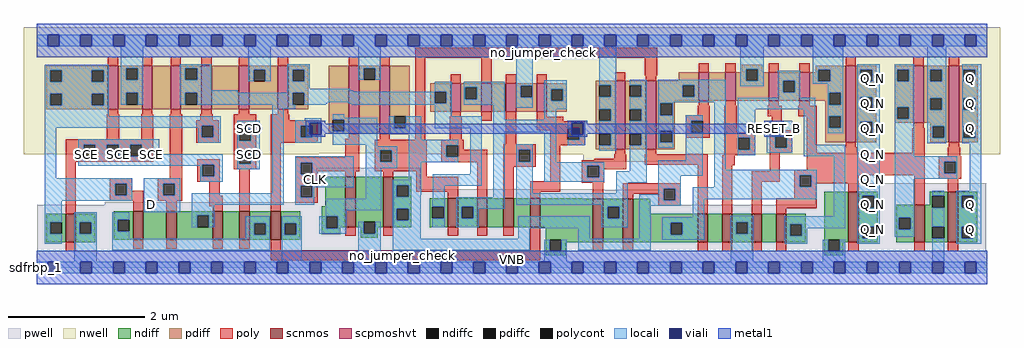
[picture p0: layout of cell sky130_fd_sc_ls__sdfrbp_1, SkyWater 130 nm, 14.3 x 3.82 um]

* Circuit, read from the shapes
.subckt sky130_fd_sc_ls__sdfrbp_1 CLK D RESET_B SCD SCE VGND VNB VPB VPWR Q Q_N
XM1 VGND SCE n1 VNB sky130_fd_pr__nfet_01v8 w=0.42 l=0.15
XM2 n2 n1 n3 VNB sky130_fd_pr__nfet_01v8 w=0.42 l=0.15
XM3 n4 D n2 VNB sky130_fd_pr__nfet_01v8 w=0.42 l=0.15
XM4 n5 SCE n4 VNB sky130_fd_pr__nfet_01v8 w=0.42 l=0.15
XM5 n3 SCD n5 VNB sky130_fd_pr__nfet_01v8 w=0.42 l=0.15
XM6 VGND RESET_B n3 VNB sky130_fd_pr__nfet_01v8 w=0.42 l=0.15
XM7 VGND CLK n6 VNB sky130_fd_pr__nfet_01v8 w=0.74 l=0.15
XM8 n7 n6 VGND VNB sky130_fd_pr__nfet_01v8 w=0.74 l=0.15
XM9 n8 n6 n4 VNB sky130_fd_pr__nfet_01v8 w=0.42 l=0.15
XM10 n9 n7 n8 VNB sky130_fd_pr__nfet_01v8 w=0.42 l=0.15
XM11 n10 n11 n9 VNB sky130_fd_pr__nfet_01v8 w=0.42 l=0.15
XM12 VGND RESET_B n10 VNB sky130_fd_pr__nfet_01v8 w=0.42 l=0.15
XM13 n11 n8 VGND VNB sky130_fd_pr__nfet_01v8 w=0.64 l=0.15
XM14 n12 n7 n11 VNB sky130_fd_pr__nfet_01v8 w=0.64 l=0.15
XM15 n13 n6 n12 VNB sky130_fd_pr__nfet_01v8 w=0.42 l=0.15
XM16 VGND n14 n13 VNB sky130_fd_pr__nfet_01v8 w=0.42 l=0.15
XM17 n15 RESET_B VGND VNB sky130_fd_pr__nfet_01v8 w=0.42 l=0.15
XM18 n14 n12 n15 VNB sky130_fd_pr__nfet_01v8 w=0.42 l=0.15
XM19 Q_N n12 VGND VNB sky130_fd_pr__nfet_01v8 w=0.74 l=0.15
XM20 VGND n12 n16 VNB sky130_fd_pr__nfet_01v8 w=0.55 l=0.15
XM21 Q n16 VGND VNB sky130_fd_pr__nfet_01v8 w=0.74 l=0.15
XM22 VPWR SCE n1 VPB sky130_fd_pr__pfet_01v8_hvt w=0.64 l=0.15
XM23 n17 SCE VPWR VPB sky130_fd_pr__pfet_01v8_hvt w=0.64 l=0.15
XM24 n4 D n17 VPB sky130_fd_pr__pfet_01v8_hvt w=0.64 l=0.15
XM25 n18 n1 n4 VPB sky130_fd_pr__pfet_01v8_hvt w=0.64 l=0.15
XM26 VPWR SCD n18 VPB sky130_fd_pr__pfet_01v8_hvt w=0.64 l=0.15
XM27 n4 RESET_B VPWR VPB sky130_fd_pr__pfet_01v8_hvt w=0.64 l=0.15
XM28 VPWR CLK n6 VPB sky130_fd_pr__pfet_01v8_hvt w=1 l=0.15
XM29 n7 n6 VPWR VPB sky130_fd_pr__pfet_01v8_hvt w=1 l=0.15
XM30 n8 n7 n4 VPB sky130_fd_pr__pfet_01v8_hvt w=0.42 l=0.15
XM31 n19 n6 n8 VPB sky130_fd_pr__pfet_01v8_hvt w=0.42 l=0.15
XM32 VPWR n11 n19 VPB sky130_fd_pr__pfet_01v8_hvt w=0.42 l=0.15
XM33 n8 RESET_B VPWR VPB sky130_fd_pr__pfet_01v8_hvt w=0.42 l=0.15
XM34 n11 n8 VPWR VPB sky130_fd_pr__pfet_01v8_hvt w=1 l=0.15
XM35 n12 n6 n11 VPB sky130_fd_pr__pfet_01v8_hvt w=1 l=0.15
XM36 n20 n7 n12 VPB sky130_fd_pr__pfet_01v8_hvt w=0.42 l=0.15
XM37 VPWR n14 n20 VPB sky130_fd_pr__pfet_01v8_hvt w=0.42 l=0.15
XM38 n14 RESET_B VPWR VPB sky130_fd_pr__pfet_01v8_hvt w=0.42 l=0.15
XM39 VPWR n12 n14 VPB sky130_fd_pr__pfet_01v8_hvt w=0.42 l=0.15
XM40 Q_N n12 VPWR VPB sky130_fd_pr__pfet_01v8_hvt w=1.12 l=0.15
XM41 VPWR n12 n16 VPB sky130_fd_pr__pfet_01v8_hvt w=0.84 l=0.15
XM42 Q n16 VPWR VPB sky130_fd_pr__pfet_01v8_hvt w=1.12 l=0.15
.ends

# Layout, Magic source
magic
tech sky130A
magscale 1 2
<< nwell >>
rect -38 335 2822 704
rect -38 332 825 335
rect 1117 332 2822 335
rect 1601 311 1903 332
<< pwell >>
rect 819 229 1123 293
rect 819 228 1626 229
rect 819 206 1823 228
rect 809 191 1823 206
rect 199 184 1823 191
rect 2281 184 2782 248
rect 1 49 2782 184
rect 0 0 2784 49
<< scnmos >>
rect 84 74 114 158
rect 282 81 312 165
rect 379 81 409 165
rect 515 81 545 165
rect 593 81 623 165
rect 685 81 715 165
rect 904 119 934 267
rect 1014 119 1044 267
rect 1204 119 1234 203
rect 1290 119 1320 203
rect 1367 119 1397 203
rect 1445 119 1475 203
rect 1629 74 1659 202
rect 1717 74 1747 202
rect 1936 74 1966 158
rect 2008 74 2038 158
rect 2094 74 2124 158
rect 2166 74 2196 158
rect 2378 74 2408 222
rect 2571 74 2601 184
rect 2669 74 2699 222
<< scpmoshvt >>
rect 208 464 238 592
rect 308 464 338 592
rect 392 464 422 592
rect 482 464 512 592
rect 592 464 622 592
rect 706 464 736 592
rect 914 392 944 592
rect 1004 392 1034 592
rect 1212 457 1242 541
rect 1302 457 1332 541
rect 1374 457 1404 541
rect 1464 457 1494 541
rect 1694 347 1724 547
rect 1784 347 1814 547
rect 1939 489 1969 573
rect 2017 489 2047 573
rect 2144 489 2174 573
rect 2234 489 2264 573
rect 2370 368 2400 592
rect 2568 424 2598 592
rect 2672 368 2702 592
<< ndiff >>
rect 845 180 904 267
rect 27 133 84 158
rect 27 99 39 133
rect 73 99 84 133
rect 27 74 84 99
rect 114 133 171 158
rect 114 99 125 133
rect 159 99 171 133
rect 114 74 171 99
rect 225 141 282 165
rect 225 107 237 141
rect 271 107 282 141
rect 225 81 282 107
rect 312 81 379 165
rect 409 153 515 165
rect 409 119 470 153
rect 504 119 515 153
rect 409 81 515 119
rect 545 81 593 165
rect 623 130 685 165
rect 623 96 636 130
rect 670 96 685 130
rect 623 81 685 96
rect 715 130 772 165
rect 715 96 726 130
rect 760 96 772 130
rect 835 150 904 180
rect 835 116 847 150
rect 881 119 904 150
rect 934 134 1014 267
rect 934 119 957 134
rect 881 116 889 119
rect 835 98 889 116
rect 715 81 772 96
rect 949 100 957 119
rect 991 119 1014 134
rect 1044 241 1097 267
rect 1044 207 1055 241
rect 1089 207 1097 241
rect 1044 173 1097 207
rect 1044 139 1055 173
rect 1089 139 1097 173
rect 1044 119 1097 139
rect 1151 179 1204 203
rect 1151 145 1159 179
rect 1193 145 1204 179
rect 1151 119 1204 145
rect 1234 179 1290 203
rect 1234 145 1245 179
rect 1279 145 1290 179
rect 1234 119 1290 145
rect 1320 119 1367 203
rect 1397 119 1445 203
rect 1475 202 1600 203
rect 1475 119 1629 202
rect 991 100 999 119
rect 949 88 999 100
rect 1491 82 1629 119
rect 1491 48 1502 82
rect 1536 74 1629 82
rect 1659 179 1717 202
rect 1659 145 1672 179
rect 1706 145 1717 179
rect 1659 74 1717 145
rect 1747 158 1797 202
rect 1747 131 1936 158
rect 1747 97 1857 131
rect 1891 97 1936 131
rect 1747 74 1936 97
rect 1966 74 2008 158
rect 2038 133 2094 158
rect 2038 99 2049 133
rect 2083 99 2094 133
rect 2038 74 2094 99
rect 2124 74 2166 158
rect 2196 127 2253 158
rect 2196 93 2207 127
rect 2241 93 2253 127
rect 2196 74 2253 93
rect 2307 82 2378 222
rect 1536 48 1549 74
rect 2307 48 2318 82
rect 2352 74 2378 82
rect 2408 210 2464 222
rect 2408 176 2419 210
rect 2453 176 2464 210
rect 2616 210 2669 222
rect 2616 184 2624 210
rect 2408 120 2464 176
rect 2408 86 2419 120
rect 2453 86 2464 120
rect 2408 74 2464 86
rect 2518 146 2571 184
rect 2518 112 2526 146
rect 2560 112 2571 146
rect 2518 74 2571 112
rect 2601 176 2624 184
rect 2658 176 2669 210
rect 2601 120 2669 176
rect 2601 86 2624 120
rect 2658 86 2669 120
rect 2601 74 2669 86
rect 2699 210 2756 222
rect 2699 176 2710 210
rect 2744 176 2756 210
rect 2699 120 2756 176
rect 2699 86 2710 120
rect 2744 86 2756 120
rect 2699 74 2756 86
rect 2352 48 2363 74
rect 1491 36 1549 48
rect 2307 36 2363 48
<< pdiff >>
rect 27 579 208 592
rect 27 545 39 579
rect 73 545 161 579
rect 195 545 208 579
rect 27 510 208 545
rect 27 476 39 510
rect 73 476 161 510
rect 195 476 208 510
rect 27 464 208 476
rect 238 584 308 592
rect 238 550 261 584
rect 295 550 308 584
rect 238 512 308 550
rect 238 478 261 512
rect 295 478 308 512
rect 238 464 308 478
rect 338 464 392 592
rect 422 584 482 592
rect 422 550 435 584
rect 469 550 482 584
rect 422 512 482 550
rect 422 478 435 512
rect 469 478 482 512
rect 422 464 482 478
rect 512 464 592 592
rect 622 580 706 592
rect 622 546 635 580
rect 669 546 706 580
rect 622 464 706 546
rect 736 580 795 592
rect 736 546 749 580
rect 783 546 795 580
rect 736 512 795 546
rect 736 478 749 512
rect 783 478 795 512
rect 736 464 795 478
rect 855 434 914 592
rect 855 400 867 434
rect 901 400 914 434
rect 855 392 914 400
rect 944 584 1004 592
rect 944 550 957 584
rect 991 550 1004 584
rect 944 392 1004 550
rect 1034 443 1093 592
rect 1034 409 1047 443
rect 1081 409 1093 443
rect 1034 392 1093 409
rect 2065 582 2126 594
rect 2065 573 2078 582
rect 1880 547 1939 573
rect 1153 516 1212 541
rect 1153 482 1165 516
rect 1199 482 1212 516
rect 1153 457 1212 482
rect 1242 528 1302 541
rect 1242 494 1255 528
rect 1289 494 1302 528
rect 1242 457 1302 494
rect 1332 457 1374 541
rect 1404 533 1464 541
rect 1404 499 1417 533
rect 1451 499 1464 533
rect 1404 457 1464 499
rect 1494 523 1553 541
rect 1494 489 1507 523
rect 1541 489 1553 523
rect 1494 457 1553 489
rect 1637 535 1694 547
rect 1637 501 1647 535
rect 1681 501 1694 535
rect 1637 464 1694 501
rect 1637 430 1647 464
rect 1681 430 1694 464
rect 1637 393 1694 430
rect 1637 359 1647 393
rect 1681 359 1694 393
rect 1637 347 1694 359
rect 1724 535 1784 547
rect 1724 501 1737 535
rect 1771 501 1784 535
rect 1724 464 1784 501
rect 1724 430 1737 464
rect 1771 430 1784 464
rect 1724 393 1784 430
rect 1724 359 1737 393
rect 1771 359 1784 393
rect 1724 347 1784 359
rect 1814 535 1939 547
rect 1814 501 1892 535
rect 1926 501 1939 535
rect 1814 489 1939 501
rect 1969 489 2017 573
rect 2047 548 2078 573
rect 2112 573 2126 582
rect 2282 580 2370 592
rect 2282 573 2290 580
rect 2112 548 2144 573
rect 2047 489 2144 548
rect 2174 548 2234 573
rect 2174 514 2187 548
rect 2221 514 2234 548
rect 2174 489 2234 514
rect 2264 546 2290 573
rect 2324 546 2370 580
rect 2264 512 2370 546
rect 2264 489 2322 512
rect 1814 481 1869 489
rect 1814 447 1827 481
rect 1861 447 1869 481
rect 2310 478 2322 489
rect 2356 478 2370 512
rect 1814 401 1869 447
rect 1814 367 1827 401
rect 1861 367 1869 401
rect 1814 347 1869 367
rect 2310 444 2370 478
rect 2310 410 2322 444
rect 2356 410 2370 444
rect 2310 368 2370 410
rect 2400 580 2459 592
rect 2400 546 2413 580
rect 2447 546 2459 580
rect 2400 500 2459 546
rect 2400 466 2413 500
rect 2447 466 2459 500
rect 2400 428 2459 466
rect 2400 394 2413 428
rect 2447 394 2459 428
rect 2513 580 2568 592
rect 2513 546 2521 580
rect 2555 546 2568 580
rect 2513 470 2568 546
rect 2513 436 2521 470
rect 2555 436 2568 470
rect 2513 424 2568 436
rect 2598 580 2672 592
rect 2598 546 2618 580
rect 2652 546 2672 580
rect 2598 497 2672 546
rect 2598 463 2618 497
rect 2652 463 2672 497
rect 2598 424 2672 463
rect 2617 414 2672 424
rect 2400 368 2459 394
rect 2617 380 2625 414
rect 2659 380 2672 414
rect 2617 368 2672 380
rect 2702 580 2757 592
rect 2702 546 2715 580
rect 2749 546 2757 580
rect 2702 497 2757 546
rect 2702 463 2715 497
rect 2749 463 2757 497
rect 2702 414 2757 463
rect 2702 380 2715 414
rect 2749 380 2757 414
rect 2702 368 2757 380
<< ndiffc >>
rect 39 99 73 133
rect 125 99 159 133
rect 237 107 271 141
rect 470 119 504 153
rect 636 96 670 130
rect 726 96 760 130
rect 847 116 881 150
rect 957 100 991 134
rect 1055 207 1089 241
rect 1055 139 1089 173
rect 1159 145 1193 179
rect 1245 145 1279 179
rect 1502 48 1536 82
rect 1672 145 1706 179
rect 1857 97 1891 131
rect 2049 99 2083 133
rect 2207 93 2241 127
rect 2318 48 2352 82
rect 2419 176 2453 210
rect 2419 86 2453 120
rect 2526 112 2560 146
rect 2624 176 2658 210
rect 2624 86 2658 120
rect 2710 176 2744 210
rect 2710 86 2744 120
<< pdiffc >>
rect 39 545 73 579
rect 161 545 195 579
rect 39 476 73 510
rect 161 476 195 510
rect 261 550 295 584
rect 261 478 295 512
rect 435 550 469 584
rect 435 478 469 512
rect 635 546 669 580
rect 749 546 783 580
rect 749 478 783 512
rect 867 400 901 434
rect 957 550 991 584
rect 1047 409 1081 443
rect 1165 482 1199 516
rect 1255 494 1289 528
rect 1417 499 1451 533
rect 1507 489 1541 523
rect 1647 501 1681 535
rect 1647 430 1681 464
rect 1647 359 1681 393
rect 1737 501 1771 535
rect 1737 430 1771 464
rect 1737 359 1771 393
rect 1892 501 1926 535
rect 2078 548 2112 582
rect 2187 514 2221 548
rect 2290 546 2324 580
rect 1827 447 1861 481
rect 2322 478 2356 512
rect 1827 367 1861 401
rect 2322 410 2356 444
rect 2413 546 2447 580
rect 2413 466 2447 500
rect 2413 394 2447 428
rect 2521 546 2555 580
rect 2521 436 2555 470
rect 2618 546 2652 580
rect 2618 463 2652 497
rect 2625 380 2659 414
rect 2715 546 2749 580
rect 2715 463 2749 497
rect 2715 380 2749 414
<< poly >>
rect 208 592 238 618
rect 308 592 338 618
rect 392 592 422 618
rect 482 592 512 618
rect 592 592 622 618
rect 706 592 736 618
rect 914 592 944 618
rect 1004 592 1034 618
rect 1108 615 1817 645
rect 208 449 238 464
rect 308 449 338 464
rect 392 449 422 464
rect 482 449 512 464
rect 592 449 622 464
rect 706 449 736 464
rect 205 376 241 449
rect 305 376 341 449
rect 84 360 341 376
rect 84 326 137 360
rect 171 326 205 360
rect 239 326 273 360
rect 307 326 341 360
rect 84 310 341 326
rect 84 158 114 310
rect 389 262 425 449
rect 479 432 515 449
rect 467 416 533 432
rect 467 382 483 416
rect 517 382 533 416
rect 467 366 533 382
rect 577 406 643 449
rect 577 372 593 406
rect 627 372 643 406
rect 577 338 643 372
rect 213 246 279 262
rect 213 212 229 246
rect 263 226 279 246
rect 354 246 425 262
rect 469 302 535 318
rect 469 268 485 302
rect 519 268 535 302
rect 577 304 593 338
rect 627 304 643 338
rect 577 288 643 304
rect 685 432 739 449
rect 685 416 823 432
rect 685 382 773 416
rect 807 382 823 416
rect 685 370 823 382
rect 914 377 944 392
rect 685 366 819 370
rect 469 252 535 268
rect 263 212 312 226
rect 213 196 312 212
rect 354 212 370 246
rect 404 212 425 246
rect 354 196 425 212
rect 505 210 535 252
rect 282 165 312 196
rect 379 165 409 196
rect 505 180 545 210
rect 515 165 545 180
rect 593 165 623 288
rect 685 165 715 366
rect 904 324 944 377
rect 1004 375 1034 392
rect 1108 375 1138 615
rect 1212 541 1242 567
rect 1302 541 1332 615
rect 1374 541 1404 567
rect 1464 541 1494 567
rect 1694 547 1724 573
rect 1781 562 1817 615
rect 1939 573 1969 599
rect 2017 573 2047 599
rect 1784 547 1814 562
rect 1212 442 1242 457
rect 1209 375 1245 442
rect 1302 431 1332 457
rect 757 308 944 324
rect 757 274 773 308
rect 807 282 944 308
rect 990 344 1142 375
rect 990 310 1006 344
rect 1040 310 1142 344
rect 990 282 1142 310
rect 1184 359 1250 375
rect 1374 361 1404 457
rect 1464 442 1494 457
rect 1464 429 1542 442
rect 1464 409 1605 429
rect 1464 403 1555 409
rect 1504 375 1555 403
rect 1589 375 1605 409
rect 1184 325 1200 359
rect 1234 345 1250 359
rect 1367 345 1462 361
rect 1234 325 1320 345
rect 1184 309 1320 325
rect 807 274 823 282
rect 757 240 823 274
rect 904 267 934 282
rect 1014 267 1044 282
rect 1112 267 1142 282
rect 757 206 773 240
rect 807 206 823 240
rect 757 190 823 206
rect 904 93 934 119
rect 1112 223 1234 267
rect 1204 203 1234 223
rect 1290 203 1320 309
rect 1367 311 1412 345
rect 1446 311 1462 345
rect 1367 295 1462 311
rect 1504 359 1605 375
rect 1367 203 1397 295
rect 1504 253 1534 359
rect 2144 573 2174 599
rect 2234 573 2264 599
rect 2370 592 2400 618
rect 2568 592 2598 618
rect 2672 592 2702 618
rect 1939 474 1969 489
rect 2017 474 2047 489
rect 2144 474 2174 489
rect 2234 474 2264 489
rect 1936 446 1972 474
rect 1901 430 1972 446
rect 1901 396 1917 430
rect 1951 396 1972 430
rect 1901 380 1972 396
rect 2014 396 2050 474
rect 2141 444 2183 474
rect 2231 444 2285 474
rect 2153 402 2183 444
rect 2014 380 2105 396
rect 1694 332 1724 347
rect 1784 332 1814 347
rect 2014 346 2055 380
rect 2089 346 2105 380
rect 1691 319 1727 332
rect 1633 315 1727 319
rect 1445 223 1534 253
rect 1597 299 1727 315
rect 1781 302 1966 332
rect 2014 330 2105 346
rect 2147 386 2213 402
rect 2147 352 2163 386
rect 2197 352 2213 386
rect 2147 336 2213 352
rect 2255 337 2285 444
rect 2568 409 2598 424
rect 2370 353 2400 368
rect 2367 337 2403 353
rect 2565 337 2601 409
rect 2672 353 2702 368
rect 1597 265 1613 299
rect 1647 289 1727 299
rect 1647 265 1663 289
rect 1597 249 1663 265
rect 1445 203 1475 223
rect 1629 202 1659 249
rect 1717 231 1887 247
rect 1717 217 1837 231
rect 1717 202 1747 217
rect 1014 93 1044 119
rect 1204 93 1234 119
rect 1290 93 1320 119
rect 1367 93 1397 119
rect 84 48 114 74
rect 282 55 312 81
rect 379 55 409 81
rect 515 55 545 81
rect 593 55 623 81
rect 685 51 715 81
rect 1445 51 1475 119
rect 685 21 1475 51
rect 1821 197 1837 217
rect 1871 197 1887 231
rect 1821 181 1887 197
rect 1936 158 1966 302
rect 2008 300 2044 330
rect 2008 158 2038 300
rect 2147 282 2177 336
rect 2255 287 2601 337
rect 2669 326 2705 353
rect 2094 252 2177 282
rect 2219 271 2601 287
rect 2094 158 2124 252
rect 2219 237 2235 271
rect 2269 247 2408 271
rect 2269 237 2285 247
rect 2219 204 2285 237
rect 2378 222 2408 247
rect 2166 174 2285 204
rect 2166 158 2196 174
rect 1629 48 1659 74
rect 1717 48 1747 74
rect 1936 48 1966 74
rect 2008 48 2038 74
rect 2094 48 2124 74
rect 2166 48 2196 74
rect 2571 184 2601 271
rect 2643 310 2709 326
rect 2643 276 2659 310
rect 2693 276 2709 310
rect 2643 260 2709 276
rect 2669 222 2699 260
rect 2378 48 2408 74
rect 2571 48 2601 74
rect 2669 48 2699 74
<< polycont >>
rect 137 326 171 360
rect 205 326 239 360
rect 273 326 307 360
rect 483 382 517 416
rect 593 372 627 406
rect 229 212 263 246
rect 485 268 519 302
rect 593 304 627 338
rect 773 382 807 416
rect 370 212 404 246
rect 773 274 807 308
rect 1006 310 1040 344
rect 1555 375 1589 409
rect 1200 325 1234 359
rect 773 206 807 240
rect 1412 311 1446 345
rect 1917 396 1951 430
rect 2055 346 2089 380
rect 2163 352 2197 386
rect 1613 265 1647 299
rect 1837 197 1871 231
rect 2235 237 2269 271
rect 2659 276 2693 310
<< locali >>
rect 0 649 31 683
rect 65 649 127 683
rect 161 649 223 683
rect 257 649 319 683
rect 353 649 415 683
rect 449 649 511 683
rect 545 649 607 683
rect 641 649 703 683
rect 737 649 799 683
rect 833 649 895 683
rect 929 649 991 683
rect 1025 649 1087 683
rect 1121 649 1183 683
rect 1217 649 1279 683
rect 1313 649 1375 683
rect 1409 649 1471 683
rect 1505 649 1567 683
rect 1601 649 1663 683
rect 1697 649 1759 683
rect 1793 649 1855 683
rect 1889 649 1951 683
rect 1985 649 2047 683
rect 2081 649 2143 683
rect 2177 649 2239 683
rect 2273 649 2335 683
rect 2369 649 2431 683
rect 2465 649 2527 683
rect 2561 649 2623 683
rect 2657 649 2719 683
rect 2753 649 2784 683
rect 23 579 211 595
rect 23 545 39 579
rect 73 545 161 579
rect 195 545 211 579
rect 23 510 211 545
rect 23 476 39 510
rect 73 476 161 510
rect 195 476 211 510
rect 245 584 311 649
rect 245 550 261 584
rect 295 550 311 584
rect 245 512 311 550
rect 245 478 261 512
rect 295 478 311 512
rect 419 584 511 596
rect 419 550 435 584
rect 469 550 511 584
rect 419 520 511 550
rect 619 580 685 649
rect 619 546 635 580
rect 669 546 685 580
rect 733 580 799 596
rect 733 546 749 580
rect 783 546 799 580
rect 941 584 1007 649
rect 941 550 957 584
rect 991 550 1007 584
rect 733 524 799 546
rect 733 520 916 524
rect 419 512 589 520
rect 733 518 922 520
rect 733 517 926 518
rect 733 516 929 517
rect 1165 516 1215 545
rect 733 512 1165 516
rect 419 478 435 512
rect 469 478 749 512
rect 783 484 1165 512
rect 783 480 850 484
rect 911 483 1165 484
rect 914 482 1165 483
rect 1199 482 1215 516
rect 918 480 1215 482
rect 783 478 846 480
rect 23 444 211 476
rect 689 477 846 478
rect 923 477 1215 480
rect 1250 528 1371 545
rect 1250 494 1255 528
rect 1289 494 1371 528
rect 1250 477 1371 494
rect 689 466 757 477
rect 23 416 539 444
rect 23 410 483 416
rect 23 262 57 410
rect 473 382 483 410
rect 517 382 539 416
rect 121 360 359 376
rect 473 366 539 382
rect 587 406 653 430
rect 587 372 593 406
rect 627 372 653 406
rect 121 326 137 360
rect 171 326 205 360
rect 239 326 273 360
rect 307 332 359 360
rect 587 338 653 372
rect 307 326 545 332
rect 121 302 545 326
rect 121 298 485 302
rect 479 268 485 298
rect 519 268 545 302
rect 587 304 593 338
rect 627 304 653 338
rect 587 288 653 304
rect 23 246 279 262
rect 23 212 229 246
rect 263 212 279 246
rect 23 196 279 212
rect 313 246 420 262
rect 479 252 545 268
rect 313 212 370 246
rect 404 212 420 246
rect 689 218 723 466
rect 867 439 901 450
rect 1165 443 1215 477
rect 784 432 833 438
rect 757 424 833 432
rect 757 416 799 424
rect 757 382 773 416
rect 807 382 833 390
rect 757 366 833 382
rect 867 434 997 439
rect 901 400 997 434
rect 867 360 997 400
rect 1031 409 1047 443
rect 1081 409 1126 443
rect 1165 409 1303 443
rect 1031 391 1126 409
rect 963 355 997 360
rect 1090 375 1126 391
rect 1090 359 1235 375
rect 963 344 1056 355
rect 23 133 73 196
rect 313 162 420 212
rect 454 184 723 218
rect 757 308 929 326
rect 757 274 773 308
rect 807 274 929 308
rect 757 240 929 274
rect 757 206 773 240
rect 807 236 929 240
rect 963 310 1006 344
rect 1040 310 1056 344
rect 963 291 1056 310
rect 1090 325 1200 359
rect 1234 325 1235 359
rect 1090 309 1235 325
rect 807 206 812 236
rect 757 184 812 206
rect 963 202 1009 291
rect 1090 257 1126 309
rect 1269 274 1303 409
rect 23 99 39 133
rect 23 70 73 99
rect 109 133 175 162
rect 109 99 125 133
rect 159 99 175 133
rect 109 17 175 99
rect 221 141 271 162
rect 221 107 237 141
rect 454 153 520 184
rect 454 119 470 153
rect 504 119 520 153
rect 846 168 1009 202
rect 1043 241 1126 257
rect 1043 207 1055 241
rect 1089 214 1126 241
rect 1160 240 1303 274
rect 1337 433 1371 477
rect 1405 533 1453 649
rect 1405 499 1417 533
rect 1451 499 1453 533
rect 1405 469 1453 499
rect 1487 523 1553 549
rect 1487 489 1507 523
rect 1541 489 1553 523
rect 1487 464 1553 489
rect 1647 535 1697 649
rect 2061 582 2130 649
rect 1681 501 1697 535
rect 1647 464 1697 501
rect 1487 433 1521 464
rect 1337 397 1521 433
rect 1681 430 1697 464
rect 1089 207 1124 214
rect 1043 173 1124 207
rect 1160 199 1195 240
rect 1337 206 1371 397
rect 846 150 907 168
rect 612 130 682 150
rect 221 85 271 107
rect 612 96 636 130
rect 670 96 682 130
rect 612 85 682 96
rect 221 51 682 85
rect 718 130 776 150
rect 718 96 726 130
rect 760 96 776 130
rect 827 116 847 150
rect 881 116 907 150
rect 1043 139 1055 173
rect 1089 139 1124 173
rect 827 100 907 116
rect 941 100 957 134
rect 991 100 1007 134
rect 718 17 776 96
rect 941 17 1007 100
rect 1043 85 1124 139
rect 1159 179 1195 199
rect 1193 145 1195 179
rect 1159 119 1195 145
rect 1229 179 1371 206
rect 1405 345 1453 361
rect 1405 311 1412 345
rect 1446 311 1453 345
rect 1405 218 1453 311
rect 1487 309 1521 397
rect 1555 424 1607 430
rect 1555 409 1567 424
rect 1601 390 1607 424
rect 1589 375 1607 390
rect 1555 359 1607 375
rect 1647 393 1697 430
rect 1681 359 1697 393
rect 1647 343 1697 359
rect 1737 535 1787 551
rect 1771 501 1787 535
rect 1737 464 1787 501
rect 1771 430 1787 464
rect 1737 393 1787 430
rect 1771 359 1787 393
rect 1487 299 1663 309
rect 1487 265 1613 299
rect 1647 265 1663 299
rect 1737 283 1787 359
rect 1821 535 2019 551
rect 1821 501 1892 535
rect 1926 501 2019 535
rect 2061 548 2078 582
rect 2112 548 2130 582
rect 2274 580 2363 649
rect 2061 532 2130 548
rect 2171 548 2237 577
rect 1821 485 2019 501
rect 2171 514 2187 548
rect 2221 514 2237 548
rect 2274 546 2290 580
rect 2324 546 2363 580
rect 2274 539 2363 546
rect 2171 498 2237 514
rect 2317 512 2363 539
rect 1821 481 1865 485
rect 1821 447 1827 481
rect 1861 447 1865 481
rect 1821 401 1865 447
rect 1821 367 1827 401
rect 1861 367 1865 401
rect 1821 351 1865 367
rect 1901 430 1951 446
rect 1901 396 1917 430
rect 1901 315 1951 396
rect 1487 252 1663 265
rect 1697 249 1787 283
rect 1821 269 1951 315
rect 1985 287 2019 485
rect 2053 464 2281 498
rect 2053 380 2105 464
rect 2053 346 2055 380
rect 2089 346 2105 380
rect 2053 330 2105 346
rect 2139 424 2213 430
rect 2139 390 2143 424
rect 2177 390 2213 424
rect 2139 386 2213 390
rect 2139 352 2163 386
rect 2197 352 2213 386
rect 2139 337 2213 352
rect 2247 360 2281 464
rect 2317 478 2322 512
rect 2356 478 2363 512
rect 2317 444 2363 478
rect 2317 410 2322 444
rect 2356 410 2363 444
rect 2317 394 2363 410
rect 2403 580 2469 596
rect 2403 546 2413 580
rect 2447 546 2469 580
rect 2403 500 2469 546
rect 2403 466 2413 500
rect 2447 466 2469 500
rect 2403 428 2469 466
rect 2403 394 2413 428
rect 2447 394 2469 428
rect 2247 326 2369 360
rect 1985 271 2285 287
rect 1697 218 1731 249
rect 1405 184 1731 218
rect 1821 231 1887 269
rect 1985 237 2235 271
rect 2269 237 2285 271
rect 1985 235 2285 237
rect 1821 215 1837 231
rect 1229 145 1245 179
rect 1279 172 1371 179
rect 1654 179 1731 184
rect 1279 145 1294 172
rect 1229 119 1294 145
rect 1410 116 1620 150
rect 1654 145 1672 179
rect 1706 145 1731 179
rect 1654 119 1731 145
rect 1765 197 1837 215
rect 1871 197 1887 231
rect 1765 181 1887 197
rect 1921 201 2285 235
rect 1410 85 1444 116
rect 1043 51 1444 85
rect 1586 85 1620 116
rect 1765 85 1799 181
rect 1921 147 1955 201
rect 1486 48 1502 82
rect 1536 48 1552 82
rect 1586 51 1799 85
rect 1833 131 1955 147
rect 1833 97 1857 131
rect 1891 97 1955 131
rect 1833 81 1955 97
rect 2033 133 2099 152
rect 2335 150 2369 326
rect 2033 99 2049 133
rect 2083 99 2099 133
rect 1486 17 1552 48
rect 2033 17 2099 99
rect 2191 127 2369 150
rect 2191 93 2207 127
rect 2241 116 2369 127
rect 2403 210 2469 394
rect 2403 176 2419 210
rect 2453 176 2469 210
rect 2403 120 2469 176
rect 2241 93 2257 116
rect 2191 70 2257 93
rect 2403 86 2419 120
rect 2453 86 2469 120
rect 2514 580 2571 596
rect 2514 546 2521 580
rect 2555 546 2571 580
rect 2514 470 2571 546
rect 2514 436 2521 470
rect 2555 436 2571 470
rect 2514 326 2571 436
rect 2609 580 2665 649
rect 2609 546 2618 580
rect 2652 546 2665 580
rect 2609 497 2665 546
rect 2609 463 2618 497
rect 2652 463 2665 497
rect 2609 414 2665 463
rect 2609 380 2625 414
rect 2659 380 2665 414
rect 2609 364 2665 380
rect 2711 580 2767 596
rect 2711 546 2715 580
rect 2749 546 2767 580
rect 2711 497 2767 546
rect 2711 463 2715 497
rect 2749 463 2767 497
rect 2711 414 2767 463
rect 2711 380 2715 414
rect 2749 380 2767 414
rect 2711 364 2767 380
rect 2514 310 2697 326
rect 2514 276 2659 310
rect 2693 276 2697 310
rect 2514 260 2697 276
rect 2514 146 2571 260
rect 2733 226 2767 364
rect 2514 112 2526 146
rect 2560 112 2571 146
rect 2514 91 2571 112
rect 2624 210 2658 226
rect 2624 120 2658 176
rect 2302 48 2318 82
rect 2352 48 2368 82
rect 2403 70 2469 86
rect 2302 17 2368 48
rect 2624 17 2658 86
rect 2694 210 2767 226
rect 2694 176 2710 210
rect 2744 176 2767 210
rect 2694 120 2767 176
rect 2694 86 2710 120
rect 2744 86 2767 120
rect 2694 70 2767 86
rect 0 -17 31 17
rect 65 -17 127 17
rect 161 -17 223 17
rect 257 -17 319 17
rect 353 -17 415 17
rect 449 -17 511 17
rect 545 -17 607 17
rect 641 -17 703 17
rect 737 -17 799 17
rect 833 -17 895 17
rect 929 -17 991 17
rect 1025 -17 1087 17
rect 1121 -17 1183 17
rect 1217 -17 1279 17
rect 1313 -17 1375 17
rect 1409 -17 1471 17
rect 1505 -17 1567 17
rect 1601 -17 1663 17
rect 1697 -17 1759 17
rect 1793 -17 1855 17
rect 1889 -17 1951 17
rect 1985 -17 2047 17
rect 2081 -17 2143 17
rect 2177 -17 2239 17
rect 2273 -17 2335 17
rect 2369 -17 2431 17
rect 2465 -17 2527 17
rect 2561 -17 2623 17
rect 2657 -17 2719 17
rect 2753 -17 2784 17
<< viali >>
rect 31 649 65 683
rect 127 649 161 683
rect 223 649 257 683
rect 319 649 353 683
rect 415 649 449 683
rect 511 649 545 683
rect 607 649 641 683
rect 703 649 737 683
rect 799 649 833 683
rect 895 649 929 683
rect 991 649 1025 683
rect 1087 649 1121 683
rect 1183 649 1217 683
rect 1279 649 1313 683
rect 1375 649 1409 683
rect 1471 649 1505 683
rect 1567 649 1601 683
rect 1663 649 1697 683
rect 1759 649 1793 683
rect 1855 649 1889 683
rect 1951 649 1985 683
rect 2047 649 2081 683
rect 2143 649 2177 683
rect 2239 649 2273 683
rect 2335 649 2369 683
rect 2431 649 2465 683
rect 2527 649 2561 683
rect 2623 649 2657 683
rect 2719 649 2753 683
rect 799 416 833 424
rect 799 390 807 416
rect 807 390 833 416
rect 1567 409 1601 424
rect 1567 390 1589 409
rect 1589 390 1601 409
rect 2143 390 2177 424
rect 31 -17 65 17
rect 127 -17 161 17
rect 223 -17 257 17
rect 319 -17 353 17
rect 415 -17 449 17
rect 511 -17 545 17
rect 607 -17 641 17
rect 703 -17 737 17
rect 799 -17 833 17
rect 895 -17 929 17
rect 991 -17 1025 17
rect 1087 -17 1121 17
rect 1183 -17 1217 17
rect 1279 -17 1313 17
rect 1375 -17 1409 17
rect 1471 -17 1505 17
rect 1567 -17 1601 17
rect 1663 -17 1697 17
rect 1759 -17 1793 17
rect 1855 -17 1889 17
rect 1951 -17 1985 17
rect 2047 -17 2081 17
rect 2143 -17 2177 17
rect 2239 -17 2273 17
rect 2335 -17 2369 17
rect 2431 -17 2465 17
rect 2527 -17 2561 17
rect 2623 -17 2657 17
rect 2719 -17 2753 17
<< metal1 >>
rect 0 683 2784 715
rect 0 649 31 683
rect 65 649 127 683
rect 161 649 223 683
rect 257 649 319 683
rect 353 649 415 683
rect 449 649 511 683
rect 545 649 607 683
rect 641 649 703 683
rect 737 649 799 683
rect 833 649 895 683
rect 929 649 991 683
rect 1025 649 1087 683
rect 1121 649 1183 683
rect 1217 649 1279 683
rect 1313 649 1375 683
rect 1409 649 1471 683
rect 1505 649 1567 683
rect 1601 649 1663 683
rect 1697 649 1759 683
rect 1793 649 1855 683
rect 1889 649 1951 683
rect 1985 649 2047 683
rect 2081 649 2143 683
rect 2177 649 2239 683
rect 2273 649 2335 683
rect 2369 649 2431 683
rect 2465 649 2527 683
rect 2561 649 2623 683
rect 2657 649 2719 683
rect 2753 649 2784 683
rect 0 617 2784 649
rect 787 424 845 430
rect 787 390 799 424
rect 833 421 845 424
rect 1555 424 1613 430
rect 1555 421 1567 424
rect 833 393 1567 421
rect 833 390 845 393
rect 787 384 845 390
rect 1555 390 1567 393
rect 1601 421 1613 424
rect 2131 424 2189 430
rect 2131 421 2143 424
rect 1601 393 2143 421
rect 1601 390 1613 393
rect 1555 384 1613 390
rect 2131 390 2143 393
rect 2177 390 2189 424
rect 2131 384 2189 390
rect 0 17 2784 49
rect 0 -17 31 17
rect 65 -17 127 17
rect 161 -17 223 17
rect 257 -17 319 17
rect 353 -17 415 17
rect 449 -17 511 17
rect 545 -17 607 17
rect 641 -17 703 17
rect 737 -17 799 17
rect 833 -17 895 17
rect 929 -17 991 17
rect 1025 -17 1087 17
rect 1121 -17 1183 17
rect 1217 -17 1279 17
rect 1313 -17 1375 17
rect 1409 -17 1471 17
rect 1505 -17 1567 17
rect 1601 -17 1663 17
rect 1697 -17 1759 17
rect 1793 -17 1855 17
rect 1889 -17 1951 17
rect 1985 -17 2047 17
rect 2081 -17 2143 17
rect 2177 -17 2239 17
rect 2273 -17 2335 17
rect 2369 -17 2431 17
rect 2465 -17 2527 17
rect 2561 -17 2623 17
rect 2657 -17 2719 17
rect 2753 -17 2784 17
rect 0 -49 2784 -17
<< labels >>
rlabel comment s 0 0 0 0 4 sdfrbp_1
flabel comment s 1484 630 1484 630 0 FreeSans 300 0 0 0 no_jumper_check
flabel comment s 1070 36 1070 36 0 FreeSans 300 0 0 0 no_jumper_check
flabel pwell s 0 0 2784 49 0 FreeSans 200 0 0 0 VNB
port 7 nsew ground bidirectional
flabel nwell s 0 617 2784 666 0 FreeSans 200 0 0 0 VPB
port 8 nsew power bidirectional
flabel metal1 s 2143 390 2177 424 0 FreeSans 340 0 0 0 RESET_B
port 3 nsew signal input
flabel metal1 s 0 617 2784 666 0 FreeSans 340 0 0 0 VPWR
port 9 nsew power bidirectional abutment
flabel metal1 s 0 0 2784 49 0 FreeSans 340 0 0 0 VGND
port 6 nsew ground bidirectional abutment
flabel locali s 2431 390 2465 424 0 FreeSans 340 0 0 0 Q_N
port 11 nsew signal output
flabel locali s 2431 464 2465 498 0 FreeSans 340 0 0 0 Q_N
port 11 nsew signal output
flabel locali s 2431 538 2465 572 0 FreeSans 340 0 0 0 Q_N
port 11 nsew signal output
flabel locali s 127 316 161 350 0 FreeSans 340 0 0 0 SCE
port 5 nsew signal input
flabel locali s 223 316 257 350 0 FreeSans 340 0 0 0 SCE
port 5 nsew signal input
flabel locali s 319 316 353 350 0 FreeSans 340 0 0 0 SCE
port 5 nsew signal input
flabel locali s 799 242 833 276 0 FreeSans 340 0 0 0 CLK
port 1 nsew clock input
flabel locali s 607 316 641 350 0 FreeSans 340 0 0 0 SCD
port 4 nsew signal input
flabel locali s 607 390 641 424 0 FreeSans 340 0 0 0 SCD
port 4 nsew signal input
flabel locali s 319 168 353 202 0 FreeSans 340 0 0 0 D
port 2 nsew signal input
flabel locali s 2719 168 2753 202 0 FreeSans 340 0 0 0 Q
port 10 nsew signal output
flabel locali s 2719 390 2753 424 0 FreeSans 340 0 0 0 Q
port 10 nsew signal output
flabel locali s 2719 464 2753 498 0 FreeSans 340 0 0 0 Q
port 10 nsew signal output
flabel locali s 2719 538 2753 572 0 FreeSans 340 0 0 0 Q
port 10 nsew signal output
flabel locali s 2719 94 2753 128 0 FreeSans 340 0 0 0 Q
port 10 nsew signal output
flabel locali s 2431 94 2465 128 0 FreeSans 340 0 0 0 Q_N
port 11 nsew signal output
flabel locali s 2431 168 2465 202 0 FreeSans 340 0 0 0 Q_N
port 11 nsew signal output
flabel locali s 2431 242 2465 276 0 FreeSans 340 0 0 0 Q_N
port 11 nsew signal output
flabel locali s 2431 316 2465 350 0 FreeSans 340 0 0 0 Q_N
port 11 nsew signal output
<< properties >>
string LEFsite unit
string LEFclass CORE
string FIXED_BBOX 0 0 2784 666
string GDS_FILE $PDKPATH/libs.ref/sky130_fd_sc_ls/gds/sky130_fd_sc_ls.gds
string LEFsymmetry X Y R90
string GDS_END 3361194
string GDS_START 3338444
<< end >>
